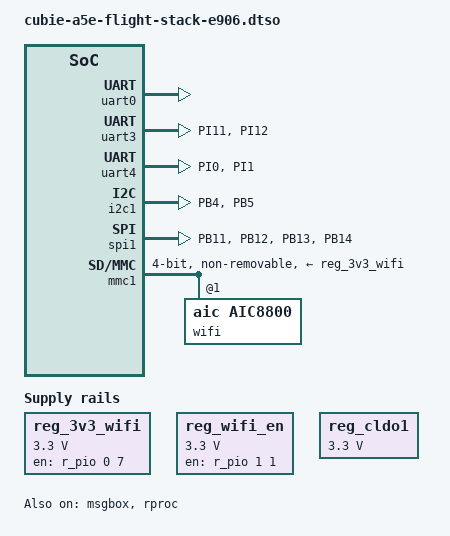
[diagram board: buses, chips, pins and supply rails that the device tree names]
// SPDX-License-Identifier: (GPL-2.0-only OR MIT)
// @impl [SPEC-E906-ARCH-02] [SPEC-E906-IPC-04] [SPEC-GPS-01] targets/allwinner_e906/SPECIFICATION.md
/dts-v1/;
/plugin/;

/*
 * ============================================================================
 *         RADXA CUBIE A5E — FLIGHT STACK OVERLAY (XUANTIE E906 PROFILE)
 * ============================================================================
 * Configuration for XuanTie E906 RISC-V Real-Time Co-Processor flight control.
 * Verified against Radxa Cubie A5E Schematic v1.2 & A527 PINOUT V0.92.
 *
 * UIO Invariant:
 *  - Peripherals assigned to the XuanTie E906 (SPI1, UART3, I2C1) are bound to
 *    compatible = "generic-uio".
 *  - This commands the Linux kernel to:
 *      1. Configure pinmux (PIO registers) and pin pull-ups at boot.
 *      2. Un-gate APB clocks and de-assert resets in the Clock Control Unit (CCU).
 *      3. Refrain from attaching Linux kernel tty, i2c, or spi drivers.
 *  - Result: 0% bus contention, 0 register resets, and exclusive bare-metal
 *    control by the XuanTie E906 co-processor.
 *
 * Hardware Resource Partitioning:
 *  - XuanTie E906 Dedicated:
 *      * RemoteProc & RPMsg VDev pool (vdev@48000000)
 *      * Dedicated MCU SRAM (riscvsram0@7280000)
 *      * Dedicated Firmware DRAM (dram@48100000)
 *      * Mailbox / Doorbell IPC (&msgbox)
 *      * High-Speed Dual-SPI Bus (SPI1: PB11-PB14 @ Pins 24, 23, 19, 21) -> generic-uio
 *      * Navigation Serial Bus (UART3: PI11/PI12 @ Pins 16 & 31) -> generic-uio
 *      * I2C Flight Bus (I2C1: PB4/PB5 @ Pins 3 & 5, puck provides pull-ups) -> generic-uio
 *      * IMU Data Ready Interrupt (PI8 / PI-EINT8 @ Pin 29)
 *  - Linux Host (ARM Cortex-A55):
 *      * UART0 Debug Console on Pins 8 & 10 (PB9/PB10 -> /dev/ttyS0)
 *      * AIC8800 Wi-Fi / BT (MMC1 + reg_3v3_wifi + reg_wifi_en)
 *      * Host RPMsg endpoint (/dev/rpmsg0)
 * ============================================================================
 */

/* UART0: Retained for Linux Host Debug Console */
&uart0 {
    status = "okay";
};

/* UART3: Navigation Serial Port (Pins 16 & 31: PI11/PI12) assigned to E906 via UIO */
&uart3 {
    compatible = "generic-uio";
    pinctrl-names = "default";
    pinctrl-0 = <&uart3_pi_pins>;
    status = "okay";
};

/* UART4: Auxiliary Serial Port (Pins 26 & 32: PI0/PI1) assigned via UIO */
&uart4 {
    compatible = "generic-uio";
    pinctrl-names = "default";
    pinctrl-0 = <&uart4_pi_pins>;
    status = "okay";
};

/* SPI0: Port C unrouted on 40-pin header - Disabled */
&spi0 {
    status = "disabled";
};

&{/aliases} {
    ethernet0 = "/soc/ethernet@4500000";
    ethernet1 = "/soc/ethernet@4510000";
    serial0 = "/soc/serial@2500000";
    serial3 = "/soc/serial@2500c00";
    serial4 = "/soc/serial@2501000";
    i2c1 = "/soc/i2c@2502400";
    spi1 = "/soc/spi@4026000";
    mmc0 = "/soc/mmc@4020000";
    mmc1 = "/soc/mmc@4021000";
};

&{/} {
    cubie-flight-stack-version = "1.6-e906";

    /* PL7: 3.3V Power Switch for AIC8800 Wi-Fi/BT */
    reg_3v3_wifi: 3v3-wifi {
        compatible = "regulator-fixed";
        regulator-name = "3v3-wifi";
        regulator-min-microvolt = <3300000>;
        regulator-max-microvolt = <3300000>;
        gpio = <&r_pio 0 7 0>;
        enable-active-high;
        regulator-always-on;
    };

    /* PM1: Hardware Enable / WL_REG_ON */
    reg_wifi_en: wifi-en {
        compatible = "regulator-fixed";
        regulator-name = "wifi-en";
        regulator-min-microvolt = <3300000>;
        regulator-max-microvolt = <3300000>;
        gpio = <&r_pio 1 1 0>;
        enable-active-high;
        regulator-always-on;
        startup-delay-us = <100000>;
    };

    reserved-memory {
        #address-cells = <2>;
        #size-cells = <2>;
        ranges;

        riscvsram0_reserved: riscvsram0@7280000 {
            reg = <0x0 0x07280000 0x0 0x40000>;
            no-map;
        };

        /* Virtio vrings and buffers: DMA pool for remoteproc */
        rproc_vdev: vdev@48000000 {
            compatible = "shared-dma-pool";
            reg = <0x0 0x48000000 0x0 0x00100000>;
            no-map;
        };

        /* E906 firmware DRAM payload pool */
        rproc_dram: dram@48100000 {
            reg = <0x0 0x48100000 0x0 0x00100000>;
            no-map;
        };
    };
};

/* IO rail regulators */
&reg_cldo1 {
    regulator-min-microvolt = <3300000>;
    regulator-max-microvolt = <3300000>;
    regulator-always-on;
};

&reg_bldo1 {
    regulator-always-on;
};

/* Pinmux Controller Configurations */
&pio {
    i2c1_pb_pins: i2c1-pb-pins {
        pins = "PB4", "PB5";
        function = "i2c1";
    };

    uart3_pi_pins: uart3-pi-pins {
        pins = "PI11", "PI12";
        function = "uart3";
    };

    uart4_pi_pins: uart4-pi-pins {
        pins = "PI0", "PI1";
        function = "uart4";
    };

    spi1_pb_pins: spi1-pb-pins {
        pins = "PB11", "PB12", "PB13", "PB14";
        function = "spi1";
    };
};

/* I2C1: Configured with PB4/PB5 pinmux via generic-uio (no Linux i2c driver) */
&i2c1 {
    compatible = "generic-uio";
    pinctrl-names = "default";
    pinctrl-0 = <&i2c1_pb_pins>;
    status = "okay";
};

/* SPI1: Dual-SPI Bus configured via generic-uio (no Linux spi driver) */
&spi1 {
    compatible = "generic-uio";
    pinctrl-names = "default";
    pinctrl-0 = <&spi1_pb_pins>;
    status = "okay";
};

&mmc1 {
    #address-cells = <1>;
    #size-cells = <0>;
    bus-width = <4>;
    max-frequency = <25000000>;
    non-removable;
    keep-power-in-suspend;
    pinctrl-names = "default";
    pinctrl-0 = <&mmc1_pins>;
    vmmc-supply = <&reg_3v3_wifi>;
    vqmmc-supply = <&reg_bldo1>;
    status = "okay";

    wifi: wifi@1 {
        reg = <1>;
        compatible = "aic,aic8800";
        status = "okay";
    };
};

&msgbox {
    status = "okay";
};

&rproc {
    firmware-name = "riscv-firmware.elf";
    memory-region = <&rproc_vdev>;
    status = "okay";
};
